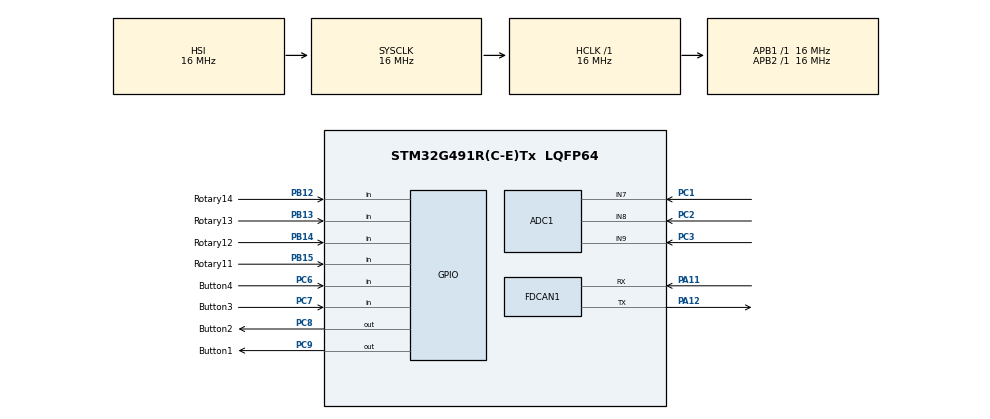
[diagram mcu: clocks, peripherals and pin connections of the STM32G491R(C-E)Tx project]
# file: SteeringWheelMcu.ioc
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ADC1.Channel-0\#ChannelRegularConversion=ADC_CHANNEL_8
ADC1.Channel-1\#ChannelRegularConversion=ADC_CHANNEL_7
ADC1.Channel-2\#ChannelRegularConversion=ADC_CHANNEL_7
ADC1.ContinuousConvMode=ENABLE
ADC1.EOCSelection=ADC_EOC_SEQ_CONV
ADC1.NbrOfConversion=3
ADC1.NbrOfConversionFlag=1
ADC1.OffsetNumber-0\#ChannelRegularConversion=ADC_OFFSET_NONE
ADC1.OffsetNumber-1\#ChannelRegularConversion=ADC_OFFSET_NONE
ADC1.OffsetNumber-2\#ChannelRegularConversion=ADC_OFFSET_NONE
ADC1.Rank-0\#ChannelRegularConversion=1
ADC1.Rank-1\#ChannelRegularConversion=2
ADC1.Rank-2\#ChannelRegularConversion=3
ADC1.SamplingTime-0\#ChannelRegularConversion=ADC_SAMPLETIME_2CYCLES_5
ADC1.SamplingTime-1\#ChannelRegularConversion=ADC_SAMPLETIME_2CYCLES_5
ADC1.SamplingTime-2\#ChannelRegularConversion=ADC_SAMPLETIME_2CYCLES_5
ADC1.master=1
Dma.ADC1.0.Direction=DMA_PERIPH_TO_MEMORY
Dma.ADC1.0.EventEnable=DISABLE
Dma.ADC1.0.Instance=DMA1_Channel1
Dma.ADC1.0.MemDataAlignment=DMA_MDATAALIGN_HALFWORD
Dma.ADC1.0.MemInc=DMA_MINC_ENABLE
Dma.ADC1.0.Mode=DMA_CIRCULAR
Dma.ADC1.0.PeriphDataAlignment=DMA_PDATAALIGN_HALFWORD
Dma.ADC1.0.PeriphInc=DMA_PINC_DISABLE
Dma.ADC1.0.Polarity=HAL_DMAMUX_REQ_GEN_RISING
Dma.ADC1.0.Priority=DMA_PRIORITY_LOW
Dma.ADC1.0.RequestNumber=1
Dma.ADC1.0.SignalID=NONE
Dma.ADC1.0.SyncEnable=DISABLE
Dma.ADC1.0.SyncPolarity=HAL_DMAMUX_SYNC_NO_EVENT
Dma.ADC1.0.SyncRequestNumber=1
Dma.ADC1.0.SyncSignalID=NONE
Dma.Request0=ADC1
FDCAN1.CalculateBaudRateNominal=333333
FDCAN1.CalculateTimeBitNominal=3000
FDCAN1.CalculateTimeQuantumNominal=1000.0
Mcu.Family=STM32G4
Mcu.Name=STM32G491R(C-E)Tx
Mcu.Package=LQFP64
NVIC.DMA1_Channel1_IRQn=true\:0\:0\:false\:false\:true\:false\:true\:true
NVIC.FDCAN1_IT0_IRQn=true\:0\:0\:false\:false\:true\:true\:true\:true
NVIC.FDCAN1_IT1_IRQn=true\:0\:0\:false\:false\:true\:true\:true\:true
NVIC.PriorityGroup=NVIC_PRIORITYGROUP_4
PA11.Mode=FDCAN_Activate
PA11.Signal=FDCAN1_RX
PA12.Mode=FDCAN_Activate
PA12.Signal=FDCAN1_TX
PA13.Signal=SYS_JTMS-SWDIO
PA14.Signal=SYS_JTCK-SWCLK
PB12.GPIO_Label=Rotary14
PB12.Signal=GPIO_Input
PB13.GPIO_Label=Rotary13
PB13.Signal=GPIO_Input
PB14.GPIO_Label=Rotary12
PB14.Signal=GPIO_Input
PB15.GPIO_Label=Rotary11
PB15.Signal=GPIO_Input
PC1.Signal=SharedAnalog_PC1
PC2.Signal=SharedAnalog_PC2
PC3.Signal=SharedAnalog_PC3
PC6.GPIO_Label=Button4
PC6.Signal=GPIO_Input
PC7.GPIO_Label=Button3
PC7.Signal=GPIO_Input
PC8.GPIO_Label=Button2
PC8.Signal=GPIO_Output
PC9.GPIO_Label=Button1
PC9.Signal=GPIO_Output
ProjectManager.HeapSize=0x200
ProjectManager.StackSize=0x400
ProjectManager.TargetToolchain=CMake
RCC.AHBFreq_Value=16000000
RCC.APB1Freq_Value=16000000
RCC.APB1TimFreq_Value=16000000
RCC.APB2Freq_Value=16000000
RCC.APB2TimFreq_Value=16000000
RCC.CortexFreq_Value=16000000
RCC.EXTERNAL_CLOCK_VALUE=12288000
RCC.HCLKFreq_Value=16000000
RCC.HSE_VALUE=8000000
RCC.HSI48_VALUE=48000000
RCC.HSI_VALUE=16000000
RCC.LSE_VALUE=32768
RCC.SYSCLKFreq_VALUE=16000000
RCC.VCOOutputFreq_Value=128000000
SH.SharedAnalog_PC1.0=GPIO_Analog
SH.SharedAnalog_PC1.1=ADC1_IN7,IN7-Single-Ended
SH.SharedAnalog_PC2.0=GPIO_Analog
SH.SharedAnalog_PC2.1=ADC1_IN8,IN8-Single-Ended
SH.SharedAnalog_PC3.0=GPIO_Analog
SH.SharedAnalog_PC3.1=ADC1_IN9,IN9-Single-Ended
VP_SYS_VS_DBSignals.Mode=DisableDeadBatterySignals
board=custom

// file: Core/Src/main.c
/* USER CODE BEGIN Header */
/**
  ******************************************************************************
  * @file           : main.c
  * @brief          : Main program body
  ******************************************************************************
  * @attention
  *
  * Copyright (c) 2026 STMicroelectronics.
  * All rights reserved.
  *
  * This software is licensed under terms that can be found in the LICENSE file
  * in the root directory of this software component.
  * If no LICENSE file comes with this software, it is provided AS-IS.
  *
  ******************************************************************************
  */
/* USER CODE END Header */
#include "main.h"
#include "adc.h"
#include "dma.h"
#include "fdcan.h"
#include "gpio.h"
#include <stdio.h>

void SystemClock_Config(void);

int main(void)
{

  /* MCU Configuration--------------------------------------------------------*/

  /* Reset of all peripherals, Initializes the Flash interface and the Systick. */
  HAL_Init();

  /* Configure the system clock */
  SystemClock_Config();

  /* Initialize all configured peripherals */
  MX_GPIO_Init();
  MX_DMA_Init();
  MX_ADC1_Init();
  MX_FDCAN1_Init();
  /* USER CODE BEGIN 2 */

    //GPIO_PIN_SET == 1 (presset ned)
    //GPIO_PIN_RESET == 0 (ikke presset ned)

    //Initializer for debouncing
      static GPIO_PinState last_raw = GPIO_PIN_RESET;
      static GPIO_PinState stable = GPIO_PIN_RESET;
      static uint32_t last_change_ms = 0;

    //Initializer for Press and hold
      static uint32_t press_start_ms = 0;
      static uint8_t hold_fired = 0;

      //pressed armed er ikke nødvendig men gjør det ekstra sikkert at det ikke
      //kan gå noe feil med press and hold

      static uint8_t pressed_armed = 0;

    //initializerer variabler for rotary debouncing
      static int pos_last = -1;
      static int pos_stable = -1;
      static uint32_t pos_last_change_ms = 0;

  /* USER CODE END 2 */

  /* Infinite loop */
  /* USER CODE BEGIN WHILE */
  while (1)
  {

      //leser av verdier hver loop
      GPIO_PinState raw = HAL_GPIO_ReadPin(Button1_GPIO_Port, Button1_Pin);
      uint32_t now_ms = HAL_GetTick();

      //snapshot for å sjekke for debouncing

      //Vil kjøre hvergang det er en change
      if (raw != last_raw) {

        last_raw = raw;

        //now_ms blir lest av vær loop, last_change oppdateres for hver endring i input verdi
        last_change_ms = now_ms;

      }

      //om forrige if statement ikke har kjørt på 20ms og den nye raw lesingen er forskjellig fra stable (den forrige stabile verdien)
      //så vil if statementen kjøre.
      //for debouncing (20ms)
      if  ((now_ms - last_change_ms) >= 20 && raw != stable)  {

          //lagrer den nye verdien som skal være stable (faktisk brukt)
          GPIO_PinState prev_stable = stable;
          stable = raw;

          //bare aktiver om går fra ikke trykk til trykk. Ikke vis den går fra trykk til ikke trykk.
          if(prev_stable == GPIO_PIN_RESET && stable == GPIO_PIN_SET){

            printf("KNAPP1! TRYKK\n");
            press_start_ms = now_ms;
            hold_fired = 0;
            pressed_armed = 1;

          }

          if (prev_stable == GPIO_PIN_SET && stable == GPIO_PIN_RESET){

            //ikke nødvendig men gjør det ekstra sikkert at press and hold if statement ikke kjører tilfelle en teknisk feil
            pressed_armed = 0;
            hold_fired = 0;

            //om vi vil ha funksjonalitet for når knappen blir sluppet

          }

      }

          //må ligge utenfor debounce sjekken fordi debounce sjekker kjører bare når raw er forskjellig fra den forriige stabile verdien
          //Hold må kjøres når det ikke har vært endring i den stabile verdien
          //den får ikke bounce fordi stable blir bare SET om en endring har vært stabil i 20 ms (i debounce if statement)

          if (pressed_armed && stable == GPIO_PIN_SET && !hold_fired){

            if((now_ms - press_start_ms) >= 4000){
                printf("KNAPP1 HOLD\n");
                hold_fired = 1;
            }

          }

          // Rotary switch

          //Leser av verdier til rotary inputs (4 per en rotary switch)
          GPIO_PinState r1 = HAL_GPIO_ReadPin(Rotary11_GPIO_Port, Rotary11_Pin);
          GPIO_PinState r2 = HAL_GPIO_ReadPin(Rotary12_GPIO_Port, Rotary12_Pin);
          GPIO_PinState r3 = HAL_GPIO_ReadPin(Rotary13_GPIO_Port, Rotary13_Pin);
          GPIO_PinState r4 = HAL_GPIO_ReadPin(Rotary14_GPIO_Port, Rotary14_Pin);

          //gir b1 - b4 true eller false avhengig om gpio_pin_set eller gpio_pin_reset
          uint8_t b1 = (r1 == GPIO_PIN_SET); //b1 = 1 om r1 er GPIO_PIN_SET osv
          uint8_t b2 = (r2 == GPIO_PIN_SET);
          uint8_t b3 = (r3 == GPIO_PIN_SET);
          uint8_t b4 = (r4 == GPIO_PIN_SET);

          //definerer ugyldig posisjons verdi for sikkerhet
          //antar posisjonen er ygyldig til vi har gjort sjekker
          int pos = -1;

          uint8_t sum = b1 + b2 + b3 + b4;

          //bare om 1 av 4 inputs er aktiv er den gyldig
          //alt annet er feil eller støy eller overgang (midt mellom to hakk)
          if (sum == 1) {

            //sjekker hvilke input som er true og setter posisjonsvariablen til å representere den inputen
            if (b1) pos = 1;
            else if (b2) pos = 2;
            else if (b3) pos = 3;
            else pos = 4;

          } else {

            pos = -1;

          }

          // om endring i posisjon oppdaterer den pos i pos_last og gjør lagrer tidspunktet
          if (pos != pos_last) {
              pos_last = pos;
              pos_last_change_ms = now_ms;
          }

          //om endring i posisjon ikke har skjedd på 20ms og den nye posisjonen (lagret i pos_last) ikke er lik den forrige stable pos
          if ((now_ms - pos_last_change_ms) >= 20 && pos_last != pos_stable){

              //lagrer den nye stable posisjonen
              pos_stable = pos_last;

              //hvis posisjonen er valid vil koden kjøre
              if (pos_stable != -1) {

                printf("ROTARY1 STABLE %d\n", pos_stable);

                //kode for hva som skal skje for mode/posisjons bytte

              }

          }

          /* UTEN DEBOUNCE (KANSKJE NICE FOR TESTING)

                  //-2 betyr ikke initialisert enda (-1 ugyldig og 1-4 gyldig)
                  static int last_pos = -2;

                  //if statement for å si ifra hver gang en endring i rotary input skjer (snur fra et hakk/posisjon til et annet)
                  //if statement skjører om den nye posisjonen er gyldig og ikke lik forrige posisjon
                  if (pos != -1 && pos != last_pos) {
                      last_pos = pos;
                      printf("ROTARY1 POS; %d\n", pos);
                  }

          */

    /* USER CODE END WHILE */

  }
}

void SystemClock_Config(void)
{
  RCC_OscInitTypeDef RCC_OscInitStruct = {0};
  RCC_ClkInitTypeDef RCC_ClkInitStruct = {0};

  /** Configure the main internal regulator output voltage
  */
  HAL_PWREx_ControlVoltageScaling(PWR_REGULATOR_VOLTAGE_SCALE1);

  /** Initializes the RCC Oscillators according to the specified parameters
  * in the RCC_OscInitTypeDef structure.
  */
  RCC_OscInitStruct.OscillatorType = RCC_OSCILLATORTYPE_HSI;
  RCC_OscInitStruct.HSIState = RCC_HSI_ON;
  RCC_OscInitStruct.HSICalibrationValue = RCC_HSICALIBRATION_DEFAULT;
  RCC_OscInitStruct.PLL.PLLState = RCC_PLL_NONE;
  if (HAL_RCC_OscConfig(&RCC_OscInitStruct) != HAL_OK)
  {
    Error_Handler();
  }

  /** Initializes the CPU, AHB and APB buses clocks
  */
  RCC_ClkInitStruct.ClockType = RCC_CLOCKTYPE_HCLK|RCC_CLOCKTYPE_SYSCLK
                              |RCC_CLOCKTYPE_PCLK1|RCC_CLOCKTYPE_PCLK2;
  RCC_ClkInitStruct.SYSCLKSource = RCC_SYSCLKSOURCE_HSI;
  RCC_ClkInitStruct.AHBCLKDivider = RCC_SYSCLK_DIV1;
  RCC_ClkInitStruct.APB1CLKDivider = RCC_HCLK_DIV1;
  RCC_ClkInitStruct.APB2CLKDivider = RCC_HCLK_DIV1;

  if (HAL_RCC_ClockConfig(&RCC_ClkInitStruct, FLASH_LATENCY_0) != HAL_OK)
  {
    Error_Handler();
  }
}

void Error_Handler(void)
{
  __disable_irq();
  while (1)
  {
  }
}
